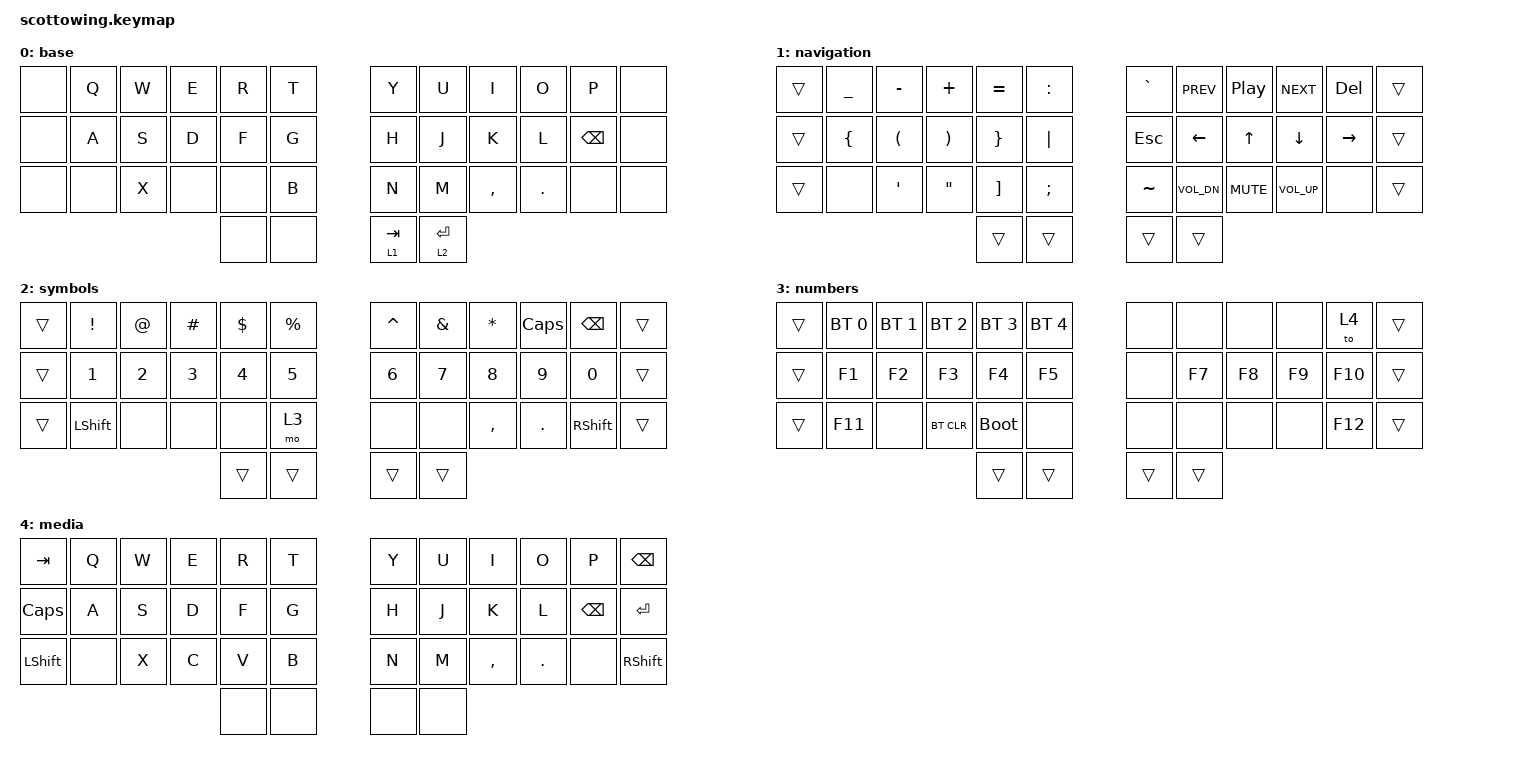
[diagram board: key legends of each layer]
#include <behaviors.dtsi>
#include <dt-bindings/zmk/bt.h>
#include <dt-bindings/zmk/keys.h>

#define MAC 0
#define MAC_CODE 1
#define MAC_NUMBER 2
#define MAC_FUNCTION 3
#define WINDOWS 4
#define WINDOWS_CODE 5
#define WINDOWS_NUMBER 6
#define WINDOWS_FUNCTION 7

// Behavior Overrides

/ {
    macros {
        // Emoji
    };

    keymap {
        compatible = "zmk,keymap";

        base {
            bindings = <
&none  &kp Q  &kp W  &kp E  &kp R  &kp T  &kp Y      &kp U        &kp I      &kp O    &kp P     &none
&none  &kp A  &kp S  &kp D  &kp F  &kp G  &kp H      &kp J        &kp K      &kp L    &kp BSPC  &none
&none  &none  &kp X  &none  &none  &kp B  &kp N      &kp M        &kp COMMA  &kp DOT  &none     &none
                            &none  &none  &lt 1 TAB  &lt 2 ENTER
            >;
        };

        navigation {
            bindings = <
&trans  &kp UNDER  &kp MINUS  &kp PLUS  &kp EQUAL  &kp COLON  &kp GRAVE  &kp C_PREV    &kp C_PP    &kp C_NEXT    &kp DEL    &trans
&trans  &kp LBRC   &kp LPAR   &kp RPAR  &kp RBRC   &kp PIPE   &kp ESC    &kp LEFT      &kp UP      &kp DOWN      &kp RIGHT  &trans
&trans  &none      &kp APOS   &kp DQT   &kp RBKT   &kp SEMI   &kp TILDE  &kp C_VOL_DN  &kp C_MUTE  &kp C_VOL_UP  &none      &trans
                                        &trans     &trans     &trans     &trans
            >;
        };

        symbols {
            bindings = <
&trans  &kp EXCL   &kp AT  &kp HASH  &kp DLLR  &kp PRCNT  &kp CARET  &kp AMPS  &kp ASTERISK  &kp CAPS  &kp BSPC   &trans
&trans  &kp N1     &kp N2  &kp N3    &kp N4    &kp N5     &kp N6     &kp N7    &kp N8        &kp N9    &kp N0     &trans
&trans  &kp LSHFT  &none   &none     &none     &mo 3      &none      &none     &kp COMMA     &kp DOT   &kp RSHFT  &trans
                                     &trans    &trans     &trans     &trans
            >;
        };

        numbers {
            bindings = <
&trans  &bt BT_SEL 0  &bt BT_SEL 1  &bt BT_SEL 2  &bt BT_SEL 3  &bt BT_SEL 4  &none   &none   &none   &none   &to 4    &trans
&trans  &kp F1        &kp F2        &kp F3        &kp F4        &kp F5        &none   &kp F7  &kp F8  &kp F9  &kp F10  &trans
&trans  &kp F11       &none         &bt BT_CLR    &bootloader   &none         &none   &none   &none   &none   &kp F12  &trans
                                                  &trans        &trans        &trans  &trans
            >;
        };

        media {
            bindings = <
&kp TAB    &kp Q  &kp W  &kp E  &kp R  &kp T  &kp Y  &kp U  &kp I      &kp O    &kp P     &kp BSPC
&kp CAPS   &kp A  &kp S  &kp D  &kp F  &kp G  &kp H  &kp J  &kp K      &kp L    &kp BSPC  &kp ENTER
&kp LSHFT  &none  &kp X  &kp C  &kp V  &kp B  &kp N  &kp M  &kp COMMA  &kp DOT  &none     &kp RSHFT
                                &none  &none  &none  &none
            >;
        };
    };
};
